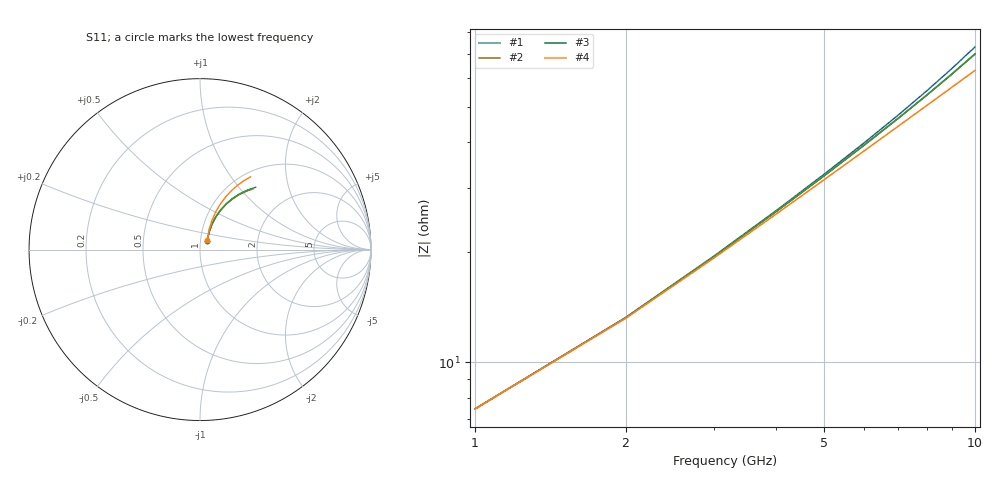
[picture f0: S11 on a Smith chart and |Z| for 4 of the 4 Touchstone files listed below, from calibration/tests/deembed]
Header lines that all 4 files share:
# hz S ma R 50
! 2 Port Network Data from SP1.SP block
! freq  magS11  angS11  magS21  angS21  magS12  angS12  magS22  angS22
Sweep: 1 GHz to 10 GHz
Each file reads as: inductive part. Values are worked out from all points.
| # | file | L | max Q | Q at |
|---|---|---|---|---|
| 1 | deemb_ind2.s2p | 1.01 nH | 16.3 | 10 GHz |
| 2 | deemb_ind3.s2p | 1.01 nH | 14.2 | 10 GHz |
| 3 | deemb_ind4.s2p | 1.01 nH | 15.6 | 10 GHz |
| 4 | deemb_ind6.s2p | 1 nH | 15.7 | 10 GHz |
